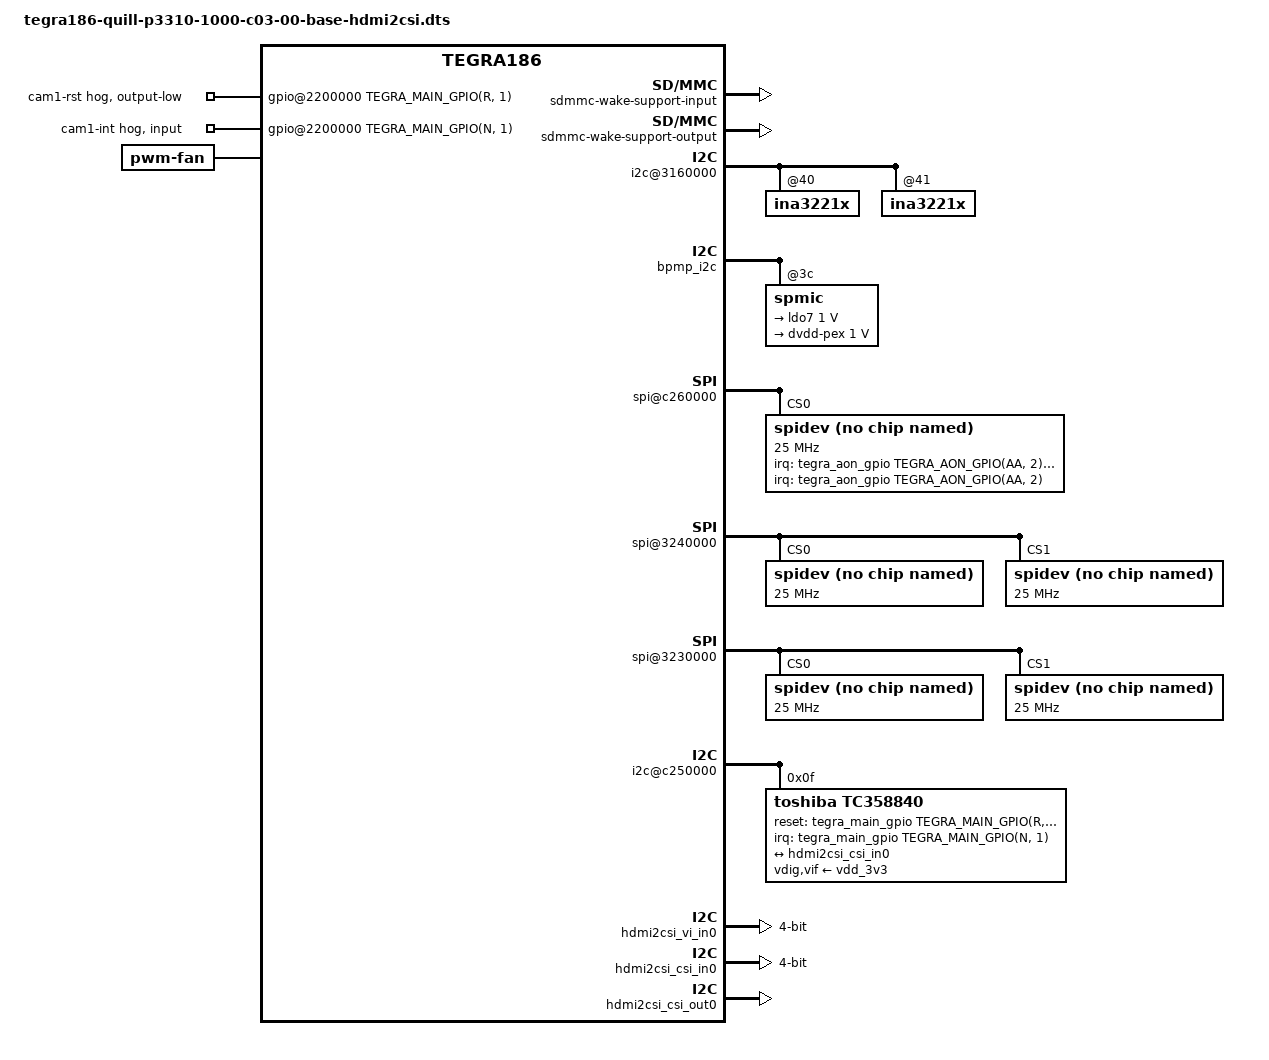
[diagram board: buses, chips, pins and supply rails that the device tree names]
/*
 * tegra186-quill-p3310-c03-00-base.dts Quill C03 Board
 *
 * Copyright (c) 2016-2017, NVIDIA CORPORATION. All rights reserved.
 *
 * This program is free software; you can redistribute it and/or modify
 * it under the terms of the GNU General Public License as published by
 * the Free Software Foundation; version 2 of the License.
 *
 * This program is distributed in the hope that it will be useful, but WITHOUT
 * ANY WARRANTY; without even the implied warranty of MERCHANTABILITY or
 * FITNESS FOR A PARTICULAR PURPOSE.  See the GNU General Public License for
 * more details.
 */

#include "tegra186-quill-p3310-1000-a00-00-base.dts"

/ {
	nvidia,dtsfilename = __FILE__;
	nvidia,dtbbuildtime = __DATE__, __TIME__;

        nvidia,boardids = "3310:0000:C03";
        nvidia,proc-boardid = "3310:0000:C03";

	pinmux@2430000 {
		common {
			gpio_edp2_pp5 {
				status = "okay";
			};

			gpio_edp3_pp6 {
				status = "okay";
			};
		};
	};

	gpio@2200000 {
		sdmmc-wake-support-input {
			status = "okay";
		};

		sdmmc-wake-support-output {
			status = "okay";
		};
	};

	fixed-regulators {
		regulator@1 {
			gpio = <&tegra_main_gpio TEGRA_MAIN_GPIO(P, 6) 0>;
                };
	};

	sdhci@3400000 {
		cd-gpios = <&tegra_main_gpio TEGRA_MAIN_GPIO(P, 5) 0>;
		nvidia,cd-wakeup-capable;
	};

	i2c@3160000 {
		ina3221x@40 {
			channel@0 {
				ti,shunt-resistor-mohm = <10>;
			};
			channel@1 {
				ti,shunt-resistor-mohm = <10>;
			};
		};
		ina3221x@41 {
			channel@0 {
				ti,shunt-resistor-mohm = <20>;
			};
			channel@1 {
				ti,shunt-resistor-mohm = <10>;
			};
			channel@2 {
				ti,rail-name = "VDD_SYS_DDR";
				ti,shunt-resistor-mohm = <10>;
			};
		};
	};

	ahci-sata@3507000 {
		gpios = <&spmic 7 0>;
	};

	pcie-controller@10003000 {
		pci@1,0 {
			nvidia,num-lanes = <4>;
			nvidia,disable-clock-request;
		};
		pci@2,0 {
			nvidia,num-lanes = <0>;
		};
		pci@3,0 {
			nvidia,num-lanes = <1>;
		};
	};

        xhci@3530000 {
		phys = <&tegra_xusb_padctl TEGRA_PADCTL_PHY_UTMI_P(0)>,
			<&tegra_xusb_padctl TEGRA_PADCTL_PHY_UTMI_P(1)>,
			<&tegra_xusb_padctl TEGRA_PADCTL_PHY_USB3_P(0)>;
		phy-names = "utmi-0", "utmi-1", "usb3-0";
	};

	pinctrl@3520000 {
		pinmux {
			usb3-std-A-port2 {
				nvidia,lanes = "usb3-0";
			};
		};
	};

       bluedroid_pm {
		bluedroid_pm,reset-gpio = <&tegra_main_gpio TEGRA_MAIN_GPIO(H, 5) 0>;
        };

	bpmp_i2c {
		spmic@3c {
			pinmux@0 {
				pin_gpio2 {
					status = "disabled";
				};
				pin_gpio3 {
					status = "disabled";
				};
				pin_gpio7 {
					drive-push-pull = <1>;
				};
			};

			regulators {
				ldo0 {
					maxim,active-fps-source = <MAX77620_FPS_SRC_NONE>;
				};

				ldo6 {
					maxim,active-fps-source = <MAX77620_FPS_SRC_NONE>;
					regulator-boot-on;
					regulator-always-on;
				};

				ldo7 {
					regulator-min-microvolt = <1000000>;
					regulator-max-microvolt = <1000000>;
				};

				ldo8 {
					regulator-name = "dvdd-pex";
					regulator-min-microvolt = <1000000>;
					regulator-max-microvolt = <1000000>;
				};
			};
		};
	};

	//SPI1                     0x03210000    0x0321ffff        arspi.h
	//SPI2    AON_CLUSTER        0x0c260000    0x0c26ffff        arspi.h
	//SPI3                     0x03230000    0x0323ffff        arspi.h
	//SPI4                     0x03240000    0x0324ffff        arspi.h

	//3240000 
	//c260000

	//SPI0 E3 F3 E4 F4 G14=Interrupt SPI0 before "Display Connector" now "IMU"
	spi@c260000 {
		status = "okay";
		spidev@0 {
			#address-cells = <0x1>;
			#size-cells = <0x0>;
			compatible = "spidev";
			reg = <0>;
			spi-max-frequency=<25000000>;
			irq-gpio = <&tegra_aon_gpio TEGRA_AON_GPIO(AA, 2) 0x01>;
			interrupt-parent = <&tegra_aon_gpio>;
			interrupts = <TEGRA_AON_GPIO(AA, 2) 0x01>; /* GPIO_PAA2 */
		};
	};


	//SPI1 G13 E14 F14 F13 before Expansion Header now CAN-MCP251x
	spi@3240000 {
		status = "okay";
		spidev@0 {
			compatible = "spidev";
			reg = <0>;
			spi-max-frequency=<25000000>;
		};
		spidev@1 {
			compatible = "spidev";
			reg = <1>;
			spi-max-frequency=<25000000>;
		};

	};

	//SPI2 H14 H15 G15 G16 F16 before Expansion Header now SPI connector
	spi@3230000 {
		status = "okay";
		spidev@0 {
			compatible = "spidev";
			reg = <0>;
			spi-max-frequency=<25000000>;
		};
		spidev@1 {
			compatible = "spidev";
			reg = <1>;
			spi-max-frequency=<25000000>;
		};
	};


	fixed-regulators {
		vdd_fan: regulator@13 {
			gpio = <&tegra_main_gpio TEGRA_MAIN_GPIO(J, 6) GPIO_ACTIVE_LOW>;  //alternative gpio for auvidea carrier boards
		};
	};

	pwm_fan_shared_data: pfsd {
		status = "okay";
		num_resources = <0>;
		secret = <47>;
		active_steps = <10>;
		active_rpm = <0 1000 2000 3000 4000 5000 6000 7000 10000 11000>;
		rpm_diff_tolerance = <2>;
		active_rru = <40 2 1 1 1 1 1 1 1 1>;
		active_rrd = <40 2 1 1 1 1 1 1 1 1>;
		state_cap_lookup = <2 2 2 2 3 3 3 4 4 4>;
		pwm_period = <45334>;
		pwm_id = <4>;
		step_time = <100>; /* mesecs */
		state_cap = <7>;
		active_pwm_max = <256>;
		tach_period = <1000>;
		//pwm_gpio = <&tegra_aon_gpio TEGRA_AON_GPIO(V, 6) GPIO_ACTIVE_LOW>; /* TEGRA_MAIN_GPIO_PV6 */
		//pwm_gpio = <&tegra_main_gpio TEGRA_MAIN_GPIO(J, 6) GPIO_ACTIVE_LOW>; /* TEGRA_MAIN_GPIO_PJ6 */
	};
	pwm-fan {
		status = "okay";
		compatible = "pwm-fan";

		shared_data = <&pwm_fan_shared_data>;
		active_pwm = <0 80 120 160 255 255 255 255 255 255>;
	};

	/*** HDMI2CSI ***/

	/* disable CAM2_MCLK and remap to a gpio */
	pinmux@2430000 {
		common {
			// Remap the INT pin of TC358840 (CAM2_MCLK) to GPIO(N,1)
			gpio_cam2_pn1 {
				nvidia,pins = "gpio_cam2_pn1";
				nvidia,function = "rsvd2";
				nvidia,pull = <TEGRA_PIN_PULL_NONE>;
				nvidia,tristate = <TEGRA_PIN_ENABLE>;
				nvidia,enable-input = <TEGRA_PIN_ENABLE>;
				nvidia,lpdr = <TEGRA_PIN_DISABLE>;
			};
			
			// Default mapping for CAM2_MCLK (TX2 Module Pin E7)
			/*
			gpio_cam2_pn1 {
				nvidia,pins = "gpio_cam2_pn1";
				nvidia,function = "extperiph3";
				nvidia,pull = <TEGRA_PIN_PULL_NONE>;
				nvidia,tristate = <TEGRA_PIN_DISABLE>;
				nvidia,enable-input = <TEGRA_PIN_DISABLE>;
				nvidia,lpdr = <TEGRA_PIN_DISABLE>;
			};
			*/
		};
	};

	/* set camera gpio direction to output */
	gpio@2200000 {
		camera-control-output-low {
			status = "okay";
			gpio-hog;
			output-low;
			gpios = <TEGRA_MAIN_GPIO(R, 1) 0>;
			label = "cam1-rst";
		};

		camera-control-input {
			status = "okay";
			gpio-hog;
			input;
			gpios = <TEGRA_MAIN_GPIO(N, 1) 0>;
			label = "cam1-int";
		};
	};

	i2c@c250000 {
		status = "okay";

		#address-cells = <1>;
		#size-cells = <0>;

		/* HDMI IN A (Full HD) */
		tc358840@0f {
			compatible = "toshiba,tc358840";
			reg = <0x0f>;
			status = "okay";
			devnode = "video0";

			/* Power Supply */
			vdig-supply = <&vdd_3v3>;
			vif-supply = <&vdd_3v3>;

			/* Reset */
			reset-gpios = <&tegra_main_gpio TEGRA_MAIN_GPIO(R, 1) GPIO_ACTIVE_LOW>;

			/* Interrupt */
			interrupt-parent = <&tegra_main_gpio>;
			interrupts = <TEGRA_MAIN_GPIO(N, 1) IRQ_TYPE_LEVEL_HIGH>;

			refclk_hz = <48000000>; /* 40 - 50 MHz */

			ddc5v_delay = <1>;	/* 50 ms */

			/* HDCP */
			/* TODO: Not yet implemented */
			enable_hdcp = <0>;

			/* CSI Output */
			csi_port = <1>;		/* Enable TX0 only */

			lineinitcnt = <0x00000FA0>;
			lptxtimecnt = <0x00000004>;
			tclk_headercnt = <0x00180203>;
			tclk_trailcnt = <0x00040005>;
			ths_headercnt = <0x000D0004>;
			twakeup = <0x00003E80>;
			tclk_postcnt = <0x0000000A>;
			ths_trailcnt = <0x00080006>;
			hstxvregcnt = <0x00000020>;

			/* PLL */
			/* Bps per lane is (refclk_hz / pll_prd) * pll_fbd */
			pll_prd = <10>;
			pll_fbd = <125>;

			port@0 {
				ret = <0>;
				hdmi2csi_tc358840_out0: endpoint {
					csi-port = <4>;
					bus-width = <4>;
					remote-endpoint = <&hdmi2csi_csi_in0>;
				};
			};
		};
	};

	host1x {
		vi@15700000 {
			num-channels = <1>;
			ports {
				#address-cells = <1>;
				#size-cells = <0>;
				port@0 {
					status = "okay";
					reg = <0>;
					hdmi2csi_vi_in0: endpoint {
						status = "okay";
						csi-port = <4>;
						bus-width = <4>;
						remote-endpoint = <&hdmi2csi_csi_out0>;
					};
				};
			};
		};

		nvcsi@150c0000 {
			num-channels = <1>;
			#address-cells = <1>;
			#size-cells = <0>;
			channel@0 {
				status = "okay";
				reg = <0>;
				ports {
					#address-cells = <1>;
					#size-cells = <0>;
					port@0 {
						status = "okay";
						reg = <0>;
						hdmi2csi_csi_in0: endpoint@0 {
							status = "okay";
							csi-port = <4>;
							bus-width = <4>;
							remote-endpoint = <&hdmi2csi_tc358840_out0>;
						};
					};
					port@1 {
						status = "okay";
						reg = <1>;
						hdmi2csi_csi_out0: endpoint@1 {
							status = "okay";
							remote-endpoint = <&hdmi2csi_vi_in0>;
						};
					};
				};
			};
		};
	};

	tegra-camera-platform {
		/**
		* Physical settings to calculate max ISO BW
		*
		* num_csi_lanes = <>;
		* Total number of CSI lanes when all cameras are active
		*
		* max_lane_speed = <>;
		* Max lane speed in Kbit/s
		*
		* min_bits_per_pixel = <>;
		* Min bits per pixel
		*
		* vi_peak_byte_per_pixel = <>;
		* Max byte per pixel for the VI ISO case
		*
		* vi_bw_margin_pct = <>;
		* Vi bandwidth margin in percentage
		*
		* max_pixel_rate = <>;
		* Max pixel rate in Kpixel/s for the ISP ISO case
		*
		* isp_peak_byte_per_pixel = <>;
		* Max byte per pixel for the ISP ISO case
		*
		* isp_bw_margin_pct = <>;
		* Isp bandwidth margin in percentage
		*/
		num_csi_lanes = <4>;
		max_lane_speed = <1500000>;
		min_bits_per_pixel = <16>;
		vi_peak_byte_per_pixel = <3>;
		vi_bw_margin_pct = <25>;
		// max_pixel_rate = <0>;
		isp_peak_byte_per_pixel = <3>;
		isp_bw_margin_pct = <25>;

		/**
		* The general guideline for naming badge_info contains 3 parts, and is as follows,
		* The first part is the camera_board_id for the module; if the module is in a FFD
		* platform, then use the platform name for this part.
		* The second part contains the position of the module, ex. “rear” or “front”.
		* The third part contains the last 6 characters of a part number which is found
		* in the module's specsheet from the vender.
		*/
		modules {
			module0 {
				status = "okay";
				badge = "hdmi2csi_left_358840";
				position = "left";
				orientation = "1";
				drivernode0 {
					/* Declare PCL support driver (classically known as guid)  */
					pcl_id = "v4l2_sensor";
					/* Driver v4l2 device name */
					devname = "tc358840 7-000f";
					/* Declare the device-tree hierarchy to driver instance */
					proc-device-tree = "/proc/device-tree/i2c@c250000/tc358840@0f";
				};
			};
		};
	};
};
